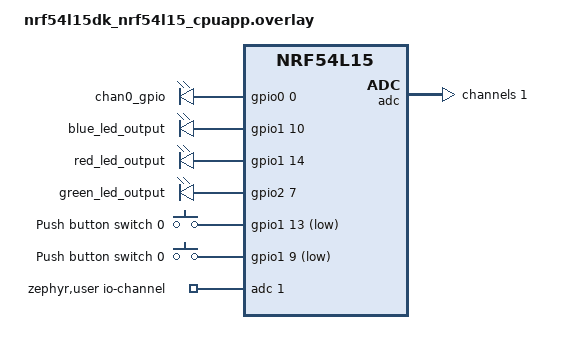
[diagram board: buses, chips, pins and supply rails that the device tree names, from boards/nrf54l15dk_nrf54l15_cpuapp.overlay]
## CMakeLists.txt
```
# SPDX-License-Identifier: Apache-2.0

cmake_minimum_required(VERSION 3.20.0)

find_package(Zephyr REQUIRED HINTS $ENV{ZEPHYR_BASE})
project(adc_dt_1)

FILE(GLOB app_sources 
    src/*.c
    src/utilities/*.c
    src/utilities/libpqueue/src/*.c
    src/utilities/circularbuffer/*.c
    src/main.c
    src/app_io.c
    src/ble.c
    src/ems_pwm.c
)

target_sources(app PRIVATE ${app_sources})
```

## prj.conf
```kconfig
# Needed for math.h
CONFIG_NEWLIB_LIBC=y
CONFIG_CBPRINTF_FP_SUPPORT=y

CONFIG_LOG=y
CONFIG_UART_CONSOLE=n
CONFIG_USE_SEGGER_RTT=y
CONFIG_RTT_CONSOLE=y
CONFIG_LOG_BACKEND_RTT=y

# Enable GPIO/PWM
CONFIG_PWM=y
CONFIG_NRFX_TIMER21=y
CONFIG_NRFX_PWM20=y
CONFIG_NRFX_PWM21=y


#Enable BLE
CONFIG_BT=y
CONFIG_BT_PERIPHERAL=y
CONFIG_BT_DEVICE_NAME="InnerGize Gen 1"
# Enable Security Management Protocol
CONFIG_BT_SMP=y

# Enable the BMS service
CONFIG_BT_BMS=y

# Enable bonding
CONFIG_BT_SETTINGS=y
CONFIG_FLASH=y
CONFIG_FLASH_PAGE_LAYOUT=y
CONFIG_FLASH_MAP=y
CONFIG_NVS=y
CONFIG_SETTINGS=y
CONFIG_NRFX_TEMP=y

CONFIG_BT_DIS=y

CONFIG_LED=y
CONFIG_LED_PWM=y

CONFIG_PM_DEVICE=y
CONFIG_GPIO=y
CONFIG_CRC=y
CONFIG_POWEROFF=y
CONFIG_HWINFO=y



# STEP 3.1 Enable support for Accept List filter and Privacy Features
CONFIG_BT_FILTER_ACCEPT_LIST=y
CONFIG_BT_PRIVACY=y
CONFIG_BT_GAP_AUTO_UPDATE_CONN_PARAMS=y
CONFIG_BT_USER_PHY_UPDATE=y
CONFIG_BT_CTLR_PHY_CODED=y
CONFIG_BT_PHY_UPDATE=y
CONFIG_BT_CTLR_TX_PWR_PLUS_8=y

# STEP 4.1 Increase the number of maximum paired devices
CONFIG_BT_MAX_PAIRED=100

CONFIG_MULTITHREADING=y
#ADC 
CONFIG_ADC=y
CONFIG_NRFX_SAADC=y
```

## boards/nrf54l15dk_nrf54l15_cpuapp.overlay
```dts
/*
 * SPDX-License-Identifier: Apache-2.0
 *
 * Copyright (c) 2024 Nordic Semiconductor ASA
 */

/{
    gpio_outputs{
        compatible = "gpio-leds";
        // Channel 0 GPIO pin
        chan0_gpio: chan0_gpio{
            gpios = < &gpio0 0 GPIO_ACTIVE_HIGH >;
        };
        blue_led_output: blue_led_output{
            gpios = <&gpio1 10 GPIO_PULL_DOWN>;
        };
        red_led_output: red_led_output{
            gpios = <&gpio1 14 GPIO_PULL_DOWN>;
        };
        green_led_output: green_led_output{
            gpios = < &gpio2 7 GPIO_ACTIVE_HIGH >;
        };
    };

    buttons{
        compatible = "gpio-keys";
        button0: button_0 {
			gpios = <&gpio1 13 (GPIO_PULL_UP | GPIO_ACTIVE_LOW)>;
			label = "Push button switch 0";
		};
        button1: button_1 {
			gpios = <&gpio1 9 (GPIO_PULL_UP | GPIO_ACTIVE_LOW)>;
			label = "Push button switch 0";
		};
    };
    

    zephyr,user {
		io-channels = <&adc 1>; // Channel 1
	};

    aliases{
        ems-chan0-gpio = &chan0_gpio;
        blue-led = &blue_led_output;
        red-led = &red_led_output;
        green-led = &blue_led_output;
        on-button = &button0;
        off-button = &button1;
    };
};

&adc {
	#address-cells = <1>;
	#size-cells = <0>;

	channel@1 {
		reg = <1>;
		zephyr,gain = "ADC_GAIN_1_4";
		zephyr,reference = "ADC_REF_INTERNAL";
		zephyr,acquisition-time = <ADC_ACQ_TIME(ADC_ACQ_TIME_MICROSECONDS,40)>;
		zephyr,input-positive = <NRF_SAADC_AIN1>; /* P1.06 */
		zephyr,resolution = <12>;
		zephyr,oversampling = <8>;
	};
};
```

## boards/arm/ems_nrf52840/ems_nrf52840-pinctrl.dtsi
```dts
&pinctrl {
	i2c0_default: i2c0_default {
		group1 {
			psels = <NRF_PSEL(TWIM_SDA, 0, 20)>,
				<NRF_PSEL(TWIM_SCL, 0, 21)>;
		};
	};

	i2c0_sleep: i2c0_sleep {
		group1 {
			psels = <NRF_PSEL(TWIM_SDA, 0, 20)>,
				<NRF_PSEL(TWIM_SCL, 0, 21)>;
			low-power-enable;
		};
	};

	// Chan1, 
	// Note: this is for compatibility purposes, pin selection done in ems_pwm.c
	ems1_default: ems1_default {
		group1 {
			psels = <NRF_PSEL(PWM_OUT0, 0, 4)>;
		};
	};

	// Chan1, 
	// Note: this is for compatibility purposes, pin selection done in ems_pwm.c
	ems1_sleep: ems1_sleep {
		group1 {
			psels = <NRF_PSEL(PWM_OUT0, 0, 4)>;
			low-power-enable;
		};
	};

	// Chan 2, 3 
	// Note: this is for compatibility purposes, pin selection done in ems_pwm.c
	ems23_default: ems23_default {
		group1 {
			psels = <NRF_PSEL(PWM_OUT0, 0, 27)>, <NRF_PSEL(PWM_OUT0, 0, 26)>;
		};
	};

	// Chan 2, 3 
	// Note: this is for compatibility purposes, pin selection done in ems_pwm.c
	ems23_sleep: ems23_sleep {
		group1 {
			psels = <NRF_PSEL(PWM_OUT0, 0, 27)>, <NRF_PSEL(PWM_OUT0, 0, 26)>;
			low-power-enable;
		};
	};
};
```

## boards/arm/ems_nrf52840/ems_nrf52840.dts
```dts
/dts-v1/;
#include <nordic/nrf52840_qiaa.dtsi>
#include "ems_nrf52840-pinctrl.dtsi"

/ {
	model = "EMS nRF52840";
	compatible = "ems,ems_nrf52840";

	chosen {
		zephyr,sram = &sram0;
		zephyr,flash = &flash0;
		zephyr,code-partition = &slot0_partition;
	};

    gpio_outputs{
        compatible = "gpio-leds";
        // Channel 0 GPIO pin
        chan0_gpio: chan0_gpio{
            gpios = < &gpio0 5 GPIO_ACTIVE_HIGH >;
        };
        led_output: led_output{
            gpios = < &gpio1 1 GPIO_ACTIVE_LOW >;
        };
    };

    

	zephyr,user {
		io-channels = <&adc 1>;  // Channel 0	
		
	};

    aliases{
        ems-chan0-gpio = &chan0_gpio;
        led-out = &led_output;
		pwm-led2 = &pwm_led2;
		pwm-led3 = &pwm_led3;
    };
};

&adc {
	status = "okay";

	#address-cells = <1>;
	#size-cells = <0>;

	channel@1{
		reg = < 1 >;
		zephyr,reference = "ADC_REF_INTERNAL";
		zephyr,gain = "ADC_GAIN_1_6";// Internal ref is 0.6, gain of 1/6 means max voltage to be measured at AIN pin is 3.6V
		zephyr,acquisition-time = < ADC_ACQ_TIME_DEFAULT >;
		zephyr,input-positive = < NRF_SAADC_AIN1 >;
		zephyr,resolution = < 10 >; // 10 Bit resolution
	};
};

&gpiote {
	status = "okay";
};

&gpio0 {
	status = "okay";
};

&gpio1 {
	status = "okay";
};

&i2c0 {
	compatible = "nordic,nrf-twi";
	status = "okay";
	pinctrl-0 = <&i2c0_default>;
	pinctrl-1 = <&i2c0_sleep>;
	pinctrl-names = "default", "sleep";


};


&pwm0 {
    status = "okay";
    pinctrl-0 = <&pwm3_custom>;
    pinctrl-1 = <&pwm3_csleep>;
    pinctrl-names = "default", "sleep";
};

&pwm2 {
	status = "okay";
	pinctrl-0 = <&pwm2_default>;
	pinctrl-1 = <&pwm2_sleep>;
	pinctrl-names = "default", "sleep";
};

&pwm3 {
	status = "okay";
	pinctrl-0 = <&pwm3_default>;
	pinctrl-1 = <&pwm3_sleep>;
	pinctrl-names = "default", "sleep";
};


&flash0 {

	partitions {
		compatible = "fixed-partitions";
		#address-cells = <1>;
		#size-cells = <1>;

		boot_partition: partition@0 {
			label = "mcuboot";
			reg = <0x00000000 0x0000C000>;
		};
		slot0_partition: partition@c000 {
			label = "image-0";
			reg = <0x0000C000 0x00067000>;
		};
		slot1_partition: partition@73000 {
			label = "image-1";
			reg = <0x00073000 0x00067000>;
		};
		scratch_partition: partition@da000 {
			label = "image-scratch";
			reg = <0x000da000 0x0001e000>;
		};

		/*
		 * The flash starting at 0x000f8000 and ending at
		 * 0x000fffff is reserved for use by the application.
		 */

		/*
		 * Storage partition will be used by FCB/LittleFS/NVS
		 * if enabled.
		 */
		storage_partition: partition@f8000 {
			label = "storage";
			reg = <0x000f8000 0x00008000>;
		};
	};
};

zephyr_udc0: &usbd {
	compatible = "nordic,nrf-usbd";
	status = "disabled";
};
```

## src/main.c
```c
#include <zephyr/kernel.h>
#include <zephyr/logging/log.h>
#include <zephyr/drivers/gpio.h>
#include <zephyr/drivers/pwm.h>
#include <hal/nrf_gpio.h>
#include <zephyr/drivers/adc.h>
#include <zephyr/pm/pm.h>

#include "main.h"
#include "ems_pwm.h"
#include "app_io.h"

LOG_MODULE_REGISTER(MAIN, LOG_LEVEL_DBG);

#define BLE_CONNECTION_STATE_NO_CONNECTION   -1
#define BLE_CONNECTION_STATE_DISCONNECTED     0
#define BLE_CONNECTION_STATE_CONNECTED        1
#define NUM_STEPS                             50U
#define SLEEP_MSEC                            25U
#define SLEEP_TIME_MS                         1000
#define ADC_CHANNEL_1                         1

#define GPIO_PIN                              NRF_GPIO_PIN_MAP(0, 5)
#define GPIO_PIN1                             NRF_GPIO_PIN_MAP(0, 25)
#define DEFAULT_SESSION_TIME_SECONDS          1200

#if !DT_NODE_EXISTS(DT_PATH(zephyr_user)) || \
    !DT_NODE_HAS_PROP(DT_PATH(zephyr_user), io_channels)
#error "No suitable devicetree overlay specified"
#endif

#define DT_SPEC_AND_COMMA(node_id, prop, idx) \
    ADC_DT_SPEC_GET_BY_IDX(node_id, idx),

// Get the ADC channels from the devicetree
const struct adc_dt_spec adc_channels[] = {
    DT_FOREACH_PROP_ELEM(DT_PATH(zephyr_user), io_channels,
    DT_SPEC_AND_COMMA)
};

static void session_timer_exp_cb(struct k_timer *timer);

static void adjust_pwm_timer_exp_cb(struct k_timer *timer);

uint32_t standby_counter;
volatile bool ems_session_running = false;
bool in_standby = false;
static int increment;

int8_t ble_connection_state = BLE_CONNECTION_STATE_NO_CONNECTION;

extern struct k_msgq ble_msgq;

struct main_msg_data data;

struct ble_msg *temp_msg = &data.data.ble;

K_MSGQ_DEFINE(main_msgq, sizeof(struct main_msg_data), 5, 4);

K_TIMER_DEFINE(session_timer, session_timer_exp_cb, NULL); // Timer for the session timer callback
K_TIMER_DEFINE(adjust_pwm_timer, adjust_pwm_timer_exp_cb, NULL);


// Struct for storing the EMS parameters like on-time, off-time, duty cycle, etc.
struct ems_def current_ems = {
    .status = {
        .control = 0,
        .session = {0},
    },
    .channels = {
        .chan0 = {.on_time = 450, .off_time = 1910},
        .chan1 = {.on_time = (6.25 * NSEC_PER_USEC), .interval = (50 * USEC_PER_MSEC)},
        .chan2 = {.duty_cycle = 50},
        .chan3 = {.duty_cycle = 50}
    }
};

// Function to update the BLE message queue
static void update_ble(struct ble_msg *msg) {
    k_msgq_put(&ble_msgq, msg, K_NO_WAIT);
}

// Timer function to turn off the EMS after the user-specified time
static void session_timer_exp_cb(struct k_timer *timer) {
    struct ble_msg control_session_msg = {0};
    if (disconnect_reason == 19) { // If user disconnected the device manually, then stop the EMS
        current_ems.status.session.current_session_len = 0;
        current_ems.status.control = 0;
        LOG_INF("EMS disabled");
        ems_pwm_toggle(0);
        ems_session_running = false;
        LOG_DBG("Function called to stop EMS");
        disconnect_reason = 0;
    }

    if (current_ems.status.control == 1) {
        current_ems.status.session.current_session_len++;
        LOG_DBG("EMS session %u, target %u", current_ems.status.session.current_session_len, current_ems.status.session.target_session_len);

        // If the session length is greater than the target session length, then turn off the EMS
        if ((current_ems.status.session.target_session_len > 0) &&
            (current_ems.status.session.current_session_len > current_ems.status.session.target_session_len)) {
            current_ems.status.control = 0;
            LOG_DBG("End EMS Session");
           // stop_green_led_thread();
            //start_green_led_thread(1000000);
            ems_session_running = false;
            ems_pwm_toggle(0);
        }
    }

    control_session_msg.id = BLE_MSG_ID_EMS_CONTROL;
    memcpy(&control_session_msg.data.ems, &current_ems, sizeof(current_ems)); // Copy the EMS parameters to the BLE message
    update_ble(&control_session_msg); // Update the BLE message queue

    //IF THE DEVICE IS NOT CONNECTED THEN INCREMENT THE STANDBY COUNTER
    if(ble_connection_state != BLE_CONNECTION_STATE_CONNECTED){
        standby_counter++;
            //LOG_INF("STANDBY %u", standby_counter);
    }
    //PUTS DEVICE TO SLEEP IF NO DEVICE CONNECTED FOR 5 MINUTES
     if(ble_connection_state != BLE_CONNECTION_STATE_CONNECTED && standby_counter > 300 && ems_session_running == false ){
    
            LOG_INF("Enter standby mode");
            nrf_gpio_pin_clear(GPIO_PIN);
            nrf_gpio_pin_clear(GPIO_PIN1);
    
    }
}


static int on_time_func() {
    if (temp_msg->data.ems.status.ontime - ems_intensity_data.PWM_ON_TIME <= 10) {
        return 1;
    } else if (temp_msg->data.ems.status.ontime - ems_intensity_data.PWM_ON_TIME > 10 && temp_msg->data.ems.status.ontime - ems_intensity_data.PWM_ON_TIME <= 25) {
        return 3;
    } else if (temp_msg->data.ems.status.ontime - ems_intensity_data.PWM_ON_TIME > 25) {
        return 5;
    }
}
// Function to gradually change the PWM_ON_TIME
static void adjust_pwm_on_time() {
    LOG_INF("BLE stack value %u", temp_msg->data.ems.status.ontime);
    LOG_INF("on time stack value %u", ems_intensity_data.PWM_ON_TIME);
    if (increment == 0) {
        increment = on_time_func();
    }
    ems_intensity_data.PWM_ON_TIME += increment;

    if (ems_intensity_data.PWM_ON_TIME >= temp_msg->data.ems.status.ontime) {
        increment = 0;
        k_timer_stop(&adjust_pwm_timer);
        ems_intensity_data.PWM_ON_TIME = temp_msg->data.ems.status.ontime;
    }

    if (ems_intensity_data.PWM_ON_TIME > 100) {
        ems_intensity_data.PWM_ON_TIME = 100; // Cap the PWM_ON_TIME at 100
    }
    // Update the PWM on-time for channel 1
    ems_pwm_update_params(1, PWM_USEC(ems_intensity_data.PWM_ON_TIME), 0, current_ems.channels.chan1.interval * NSEC_PER_USEC);
}

// Timer function to adjust PWM_ON_TIME every 20 seconds
static void adjust_pwm_timer_exp_cb(struct k_timer *timer) {
    adjust_pwm_on_time();
}

// Function to turn EMS on and off
static void ems_control_cmd_handle(uint8_t control) {
    if (control) {
        // Enable EMS
        initial_value = batt_val_mv;
        current_ems.status.session.current_session_len = 0;
        current_ems.status.control = 1;
        ems_pwm_toggle(1);
        //stop_green_led_thread();
        //start_green_led_thread(10000);
        LOG_INF("EMS enabled");
        current_ems.status.session.target_session_len = DEFAULT_SESSION_TIME_SECONDS; // Turn off EMS automatically after 20 minutes
        ems_session_running = true;
    } 
    else {
        current_ems.status.session.current_session_len = 0;
        current_ems.status.control = 0;
        LOG_INF("EMS disabled");
        ems_pwm_toggle(0);
        //stop_green_led_thread();
        //start_green_led_thread(1000000);
        ems_session_running = false;
    }
}

// Function to update the EMS parameters included in the EMS service 
static void ems_chan_cmd_handle(uint8_t channel, struct pwm_channel_data *chan_data) {
    switch (channel) {
        case BLE_MSG_ID_EMS_CHAN1_CONTROL: {
            ems_pwm_update_params(0, chan_data->chan0.on_time * NSEC_PER_MSEC, chan_data->chan0.off_time * NSEC_PER_MSEC, 0);
            memcpy(&current_ems.channels.chan0, &chan_data->chan0, sizeof(current_ems.channels.chan0));
            LOG_DBG("Chan0 update on_time: %u, off_time: %u", current_ems.channels.chan0.on_time, current_ems.channels.chan0.off_time);
            break;
        }
        case BLE_MSG_ID_EMS_CHAN2_CONTROL: {
            ems_pwm_update_params(1, chan_data->chan1.on_time, 0, chan_data->chan1.interval * NSEC_PER_USEC);
            memcpy(&current_ems.channels.chan1, &chan_data->chan1, sizeof(current_ems.channels.chan1));
            LOG_DBG("Chan1 update on_time: %u, interval: %u", current_ems.channels.chan1.on_time, current_ems.channels.chan1.interval);
            break;
        }
        case BLE_MSG_ID_EMS_CHAN3_CONTROL: {
            ems_pwm_update_params(2, chan_data->chan2.duty_cycle, 0, 0);
            memcpy(&current_ems.channels.chan2, &chan_data->chan2, sizeof(current_ems.channels.chan2));
            LOG_DBG("Chan2 update duty_cycle: %d", current_ems.channels.chan2.duty_cycle);
            break;
        }
        case BLE_MSG_ID_EMS_CHAN4_CONTROL: {
            ems_pwm_update_params(3, chan_data->chan3.duty_cycle, 0, 0);
            memcpy(&current_ems.channels.chan3, &chan_data->chan3, sizeof(current_ems.channels.chan3));
            LOG_DBG("Chan3 update duty_cycle: %d", current_ems.channels.chan3.duty_cycle);
            break;
        }
        default: {
            break;
        }
    }
}

int main(void) {
    nrf_gpio_cfg_output(GPIO_PIN);
    nrf_gpio_cfg_output(GPIO_PIN1);

    nrf_gpio_pin_set(GPIO_PIN);
    nrf_gpio_pin_set(GPIO_PIN1);

    //LOG_INF("VALUE OF TEMP SENSOR %f",read_cpu_temp_sensor());
    ems_pwm_init(); // Initializes the PWM

    k_timer_start(&session_timer, K_SECONDS(1), K_SECONDS(1)); // Starts the timer


    while (1) {
        
        k_msgq_get(&main_msgq, &data, K_FOREVER);

        // If the data source is BLE, then handle the BLE messages
        if (data.src == MAIN_MSG_DATA_SRC_BLE) {
            // Switch case to handle the BLE messages
            switch (temp_msg->id) {
                case BLE_MSG_ID_EMS_CONTROL: {
                    if(temp_msg->data.ems.status.control == 1){
                        RelaxMode();
                    }
                    else if(temp_msg->data.ems.status.control == 2){
                        SleepMode();
                    }
                    else if(temp_msg->data.ems.status.control == 3){
                        BreathMode();
                    }
                    ems_control_cmd_handle(temp_msg->data.ems.status.control);
                    LOG_INF("EMS control CALLED");
                    break;
                }
                case BLE_MSG_ID_EMS_SESSION: {
                    current_ems.status.session.current_session_len = 0;
                    current_ems.status.session.target_session_len = temp_msg->data.ems.status.session.target_session_len; // uint32 big endian
                    break;
                }
                case BLE_MSG_ID_PWM_PERIOD: {
                    ems_intensity_data.PWM_PERIOD = temp_msg->data.ems.status.period;
                    break;
                }
                case BLE_MSG_ID_PWM_ONTIME: {
                    // Start the timer to adjust PWM_ON_TIME every 20 seconds
                    k_timer_start(&adjust_pwm_timer, K_SECONDS(2), K_SECONDS(2));
                    break;
                }
                case BLE_MSG_ID_PWM_INTERVAL: {
                    ems_intensity_data.PWM_INTERVAL = temp_msg->data.ems.status.interval;
                    break;
                }
                case BLE_MSG_ID_PWM_DURATION: {
                    ems_intensity_data.PWM_DURATION = temp_msg->data.ems.status.duration;
                    break;
                }
                case BLE_MSG_ID_CHAN0_PLAYBACK_COUNT: {
                    ems_intensity_data.CHAN0_PLAYBACK = temp_msg->data.ems.status.chan0playback;


                    break;
                }
                case BLE_MSG_ID_CHAN0_INUCT_DURATION: {
                    ems_intensity_data.CHAN0_INDUCTOR = temp_msg->data.ems.status.chan0inductor;

                    break;
                }
                 case BLE_MSG_ID_CHAN0_ON_DURATION: {
                    ems_intensity_data.CHAN0_DURATION = temp_msg->data.ems.status.chan0ontime;
                  chan0_para_update();

                    break;
                }
                case BLE_MSG_ID_CHAN0_DURATION: {
                    ems_intensity_data.CHAN0_ON_DURATION = temp_msg->data.ems.status.chan0time;
                    chan0_para_update();
                    break;
                }
                case BLE_MSG_ID_CHAN23_PWM_PERIOD_NS: {
                    ems_intensity_data.PWM23_DURATION = 25*(temp_msg->data.ems.status.pwm23time);
                    //CHAN23_PWM_DEFAULT_PERIOD_NS = temp_msg->data.ems.status.pwm23time;
                    LOG_INF("VALUE OF CHAN 23 IN BLE STACK  %u", temp_msg->data.ems.status.pwm23time );
                    LOG_INF("VALUE OF CHAN 23 %u", ems_intensity_data.PWM23_DURATION );
                    chan23reset();

                    break;
                }
                case BLE_MSG_ID_CHAN23_PWM_ON_TIME_NS: {
                    ems_intensity_data.PWM23_ON_DURATION = 25*(temp_msg->data.ems.status.pwm23ontime);
                    //CHAN23_PWM_DEFAULT_ON_TIME_NS= temp_msg->data.ems.status.pwm23ontime;
                    LOG_INF("VALUE OF CHAN 23ONM in ble stack %u", temp_msg->data.ems.status.pwm23ontime);
                    LOG_INF("VALUE OF CHAN 23ON %u", ems_intensity_data.PWM23_ON_DURATION );
                    chan23reset();
                    break;
                }
                case BLE_MSG_ID_CHARGER_ON_OFF: {
                    if(temp_msg->data.ems.status.chargeronoff == 5)
                    {
                         nrf_gpio_pin_clear(GPIO_PIN);
                         nrf_gpio_pin_clear(GPIO_PIN1);
                    }
                    break;
                }
                case BLE_MSG_ID_EMS_CHAN1_CONTROL:
                case BLE_MSG_ID_EMS_CHAN2_CONTROL:
                case BLE_MSG_ID_EMS_CHAN3_CONTROL:
                case BLE_MSG_ID_EMS_CHAN4_CONTROL: {
                    ems_chan_cmd_handle(temp_msg->id, &temp_msg->data.ems.channels);
                    break;
                }
                case BLE_MSG_ID_CONNECTED: {
                    ble_connection_state = BLE_CONNECTION_STATE_CONNECTED;
                    standby_counter = 0;
                    break;
                }
                case BLE_MSG_ID_DISCONNECTED: {
                    ble_connection_state = BLE_CONNECTION_STATE_DISCONNECTED;
                    standby_counter = 0;
                    LOG_DBG("BLE disconnected");
                    k_timer_stop(&adjust_pwm_timer);
                    break;
                }
                default: {
                    break;
                }
            }
        }
    }
    return 0;
}
```

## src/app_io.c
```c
#include "app_io.h"
#include "ble.h"
#include "main.h"
#include "ems_pwm.h"

#include <zephyr/drivers/pwm.h>
#include <zephyr/kernel.h>
#include <zephyr/drivers/gpio.h>
#include <zephyr/drivers/adc.h>
#include <zephyr/logging/log.h>
#include <zephyr/sys/reboot.h>
#include <hal/nrf_gpio.h>
#include <zephyr/bluetooth/bluetooth.h>
#include <zephyr/bluetooth/gatt.h>
#include <zephyr/bluetooth/uuid.h>
#include <zephyr/bluetooth/conn.h>
#include <zephyr/bluetooth/gap.h>
#include <zephyr/bluetooth/hci.h>

#include <inttypes.h>
#include <stdio.h>

#include <zephyr/device.h>
#include <zephyr/drivers/gpio.h>
#include <zephyr/drivers/hwinfo.h>
#include <zephyr/drivers/comparator.h>
#include <zephyr/kernel.h>
#include <zephyr/pm/device.h>
#include <zephyr/sys/poweroff.h>
#include <zephyr/sys/util.h>
#include <zephyr/drivers/timer/nrf_grtc_timer.h>

LOG_MODULE_REGISTER(APP_IO, LOG_LEVEL_DBG);

#define BLUE_LED_OUT_NODE                   DT_ALIAS(blue_led)       // blue LED node
#define GREEN_LED_OUT_NODE                  DT_ALIAS(green_led) 
#define RED_LED_OUT_NODE                    DT_ALIAS(red_led)        // red LED node


#define SW0_NODE	                    DT_ALIAS(on_button)           // Button node

#define GPIO_PIN                        NRF_GPIO_PIN_MAP(0, 5)
#define GPIO_PIN1                       NRF_GPIO_PIN_MAP(0, 25)

#define STACK_SIZE                            512
#define MY_STACK_SIZE                         500
#define THREAD_PRIORITY                       4

#define PWM_PERIOD   PWM_MSEC(60)

#define PWM_MIN_DUTY_CYCLE 20000000
#define PWM_MAX_DUTY_CYCLE 50000000

#define ADC_THRESHOLD                   70  // Threshold for waking up based on ADC value difference
#define ARRAY_SIZE                      10   // Size of the ADC value array

#define SLEEP_DURATION_MS               5000 // Duration of sleep in milliseconds

#define TIME_WINDOW_MS     10000  // 10-second time window



#define DEEP_SLEEP_TIME_S 2


static const struct gpio_dt_spec sw0 = GPIO_DT_SPEC_GET(DT_ALIAS(off_button), gpios);


#if !DT_NODE_HAS_STATUS(SW0_NODE, okay)
#error "Unsupported board: sw0 devicetree alias is not defined"
#endif

// ADC spec macro
#define DT_SPEC_AND_COMMA(node_id, prop, idx) \
	ADC_DT_SPEC_GET_BY_IDX(node_id, idx),


struct gpio_dt_spec red_led_spec = GPIO_DT_SPEC_GET(RED_LED_OUT_NODE, gpios); // Red LED spec

struct gpio_dt_spec green_led_spec = GPIO_DT_SPEC_GET(GREEN_LED_OUT_NODE, gpios); // Red LED spec

struct gpio_dt_spec blue_led_spec = GPIO_DT_SPEC_GET(BLUE_LED_OUT_NODE, gpios); // Red LED spec


extern struct k_msgq ble_msgq;  // BLE message queue

// Define the thread stack
K_THREAD_STACK_DEFINE(dyn_thread_stack_1, MY_STACK_SIZE);
// Define the thread control block
struct k_thread my_thread_data_1;

/* Define the timer object */
static struct k_timer my_timer;

static struct gpio_callback button_cb_data;

static const struct gpio_dt_spec button = GPIO_DT_SPEC_GET_OR(SW0_NODE, gpios, {0}); // Button spec

// ADC channels
static const struct adc_dt_spec adc_channels[] = {
	DT_FOREACH_PROP_ELEM(DT_PATH(zephyr_user), io_channels, DT_SPEC_AND_COMMA)
};

// Thread definitions
#define LED_BLINK_THREAD_STACK_SIZE 1024
#define LED_BLINK_THREAD_PRIORITY 5

K_THREAD_STACK_DEFINE(blue_led_stack_area, LED_BLINK_THREAD_STACK_SIZE);
K_THREAD_STACK_DEFINE(green_led_stack_area, LED_BLINK_THREAD_STACK_SIZE);

struct k_thread blue_led_thread_data;
struct k_thread green_led_thread_data;

// Shared data for controlling threads
static uint32_t pwm_period_blue = 1000000; // Default period for blue LED
static uint32_t pwm_period_green = 1000000;   // Default period for green LED

static bool blue_led_thread_running = false;
static bool green_led_thread_running = false;

// Mutexes to protect access to shared variables
static struct k_mutex blue_period_mutex;
static struct k_mutex green_period_mutex;

#define MIN_DUTY_CYCLE 0
#define MAX_DUTY_CYCLE 10000 // Maximum duty cycle in nanoseconds, adjust as needed
#define STEP_SIZE 100 // Step size for duty cycle increment/decrement, adjust for smoothness
#define STEP_DELAY_MS 10 // Delay between steps in milliseconds, adjust for speed of breathing effect
#define SOLID_BRIGHT_PERIOD 10000 // Set period for solid bright     // Maximum duty cycle for full brightness
#define ZERO_DUTY_CYCLE 0           // Duty cycle for turning off the LED


uint32_t btn_hold_counter = 0;
uint32_t ems_on = 0;
uint16_t raw_batt_val = 0;
int32_t batt_val_mv = 0;
int32_t initial_value = 0;
int32_t current_value = 0;
int32_t final_value = 0;
int charging_threshold;  // Charging threshold will be dynamically set
uint8_t charger_state = 0;   // Initialize the charger state
uint8_t battery_low = 0; 
uint16_t buf;
k_tid_t my_tid1;
k_tid_t my_tid2;
k_tid_t my_tid3;
uint8_t sleep_flag =0;
static int64_t start_time;
const k_tid_t red_led_thread; // LED thread

static int charge_count=0;
static int charge_count1=0;
static int charge=0;
static int discharge=0;

// ADC value array for storing readings
int adc_values_array[ARRAY_SIZE] = {0};
int adc_array_index = 0; // Index to keep track of the array position

volatile bool in_critical_section = false;

const k_tid_t led_thread; // LED thread

extern bool in_standby;

K_SEM_DEFINE(button_sem, 0, 1);

// Battery ADC sequence
struct adc_sequence batt_read_sequence = {
    .buffer = &raw_batt_val,
    .buffer_size = sizeof(raw_batt_val)
};

/* Callback function for the timer */
void timer_expiry_function(struct k_timer *timer_id)
{
    /* Optional: If you want to restart the process for another 30 seconds, restart the timer */
    k_timer_start(&my_timer, K_SECONDS(30), K_NO_WAIT);
}

// Button pressed callback function
void button_pressed(const struct device *dev, struct gpio_callback *cb, uint32_t pins) {

    k_sem_give(&button_sem);

	LOG_DBG("Button pressed at %" PRIu32 "\n", k_cycle_get_32());
}

// Battery read initialization function
static int batt_read_init() {
    int ret = 0;

    if (!device_is_ready(adc_channels[0].dev)) {
        return -ENODEV;
    }

    ret = adc_channel_setup_dt(&adc_channels[0]);
    if (ret) {
        return ret;
    }
      // Initialize ADC sequence
    ret = adc_sequence_init_dt(&adc_channels[0], &batt_read_sequence);
    if (ret) {
          return;
    }

    return 0;
}

static void battery_update()
{
    int ret = 0;

    // Read ADC value
    ret = adc_read(adc_channels[0].dev, &batt_read_sequence);
    if (ret) {
        return;
    }

    batt_val_mv = (int32_t)raw_batt_val;
    ret = adc_raw_to_millivolts_dt(&adc_channels[0], &batt_val_mv);
    if (ret) {
        return;
    }

    /* Read the current battery value */
    current_value = batt_val_mv;
    //LOG_INF("BATTURY VALUE %u",current_value);

    // Set charging thresholds based on batt_val_mv
   
        if (batt_val_mv >= 2000) {
            charging_threshold = 8;
        } else if (batt_val_mv >= 1500 && batt_val_mv < 2000) {
            charging_threshold = 10;
        } else {
            charging_threshold = 12;
        } 

        if(is_pwm_modes_enabled == false)
        {

            if(battery_update_ready)
            {
                k_sleep(K_MSEC(2000)); // Check battery every 2 seconds
                battery_update_ready = false;
            }


        if((final_value - current_value >= 8) && (discharge ==1)){

            charge_count = 0;
            charge_count1 = charge_count1 + 100;

    
            if(charge_count1 > 400)
            {
               // LOG_INF("Button held for more than 9 seconds, rebooting");
    
                // nrf_gpio_pin_clear(GPIO_PIN);
                // nrf_gpio_pin_clear(GPIO_PIN1);
                //gpio_pin_set_raw(red_led_spec.port, red_led_spec.pin, 1);
                charger_state = 0;
                discharge=0;
                
            }
            //charger_state = 0;
            //initial_value = current_value;

        } 
        else if (current_value - initial_value >= charging_threshold) {
            //printk("Value changed from %d to %d with batt_val_mv: %d\n", initial_value, current_value, batt_val_mv);
             // Set charger state to 1
            charge_count1 = 0;
            sleep_flag = 1;
            charge_count = charge_count + 100;

            if(charge_count > 400)

            {
               // LOG_INF("Button held for more than 9 seconds, rebooting");
    
                // nrf_gpio_pin_clear(GPIO_PIN);
                // nrf_gpio_pin_clear(GPIO_PIN1);
                //gpio_pin_set_raw(red_led_spec.port, red_led_spec.pin, 0);
                final_value = batt_val_mv;
                charger_state = 1; 
                discharge =1;
            }
            //gpio_pin_set_raw(red_led_spec.port, red_led_spec.pin, 0);

        }  
        else {
            initial_value = current_value;
           // charger_state = 0;
            charge_count1 = 0;
            charge_count = 0;
            //gpio_pin_set_raw(red_led_spec.port, red_led_spec.pin, 1);
           // printk("Restarting timer with initial value: %d\n", initial_value);
        }
    }
        
    }
    
static void batt_read_update() // Battery read update
{   
    while (1) {

        battery_update();

        struct ble_msg batt_msg = {
            .id = BLE_MSG_ID_BATT_UPDATE,
            .data.batt_mv = batt_val_mv
        };
        k_msgq_put(&ble_msgq, &batt_msg, K_NO_WAIT);
    
        k_sleep(K_MSEC(1000)); // Check battery every 2 seconds
    }
}


static void red_led_main() {
    while (1) {
    int ret = gpio_pin_toggle_dt(&red_led_spec);
        k_sleep(K_MSEC(1000));
    }
}

static void green_led_main() {
    while (1) {
      int  ret = gpio_pin_toggle_dt(&green_led_spec);
        k_sleep(K_MSEC(1000));
    }
}

static void blue_led_main() {
    while (1) {
    int ret = gpio_pin_toggle_dt(&blue_led_spec);
        k_sleep(K_MSEC(1000));
    }
}

int input_main() {
    
    int err = 0;
    int ret;
    int val;
    int btn_hold_counter = 0;
    bool pattern_changed = false; // Flag to track if LED pattern is already changed
    const int hold_duration_threshold = 2000; // 2 seconds in milliseconds

    int rc;
	const struct device *const cons = DEVICE_DT_GET(DT_CHOSEN(zephyr_console));

	if (!device_is_ready(cons)) {
		LOG_ERR("%s: device not ready.\n", cons->name);
		return 0;
	}

	LOG_ERR("\n%s system off demo\n", CONFIG_BOARD);


	/* configure sw0 as input, interrupt as level active to allow wake-up */
	rc = gpio_pin_configure_dt(&sw0, GPIO_INPUT);
	if (rc < 0) {
		LOG_ERR("Could not configure sw0 GPIO (%d)\n", rc);
		return 0;
	}

	rc = gpio_pin_interrupt_configure_dt(&sw0, GPIO_INT_LEVEL_ACTIVE);
	if (rc < 0) {
		LOG_ERR("Could not configure sw0 GPIO interrupt (%d)\n", rc);
		return 0;
	}

	LOG_ERR("Entering system off; press sw0 to restart\n");




    create_red_thread_from_function();
    
    create_green_thread_from_function();

    create_blue_thread_from_function();

    // Initialize the timer
    k_timer_init(&my_timer, timer_expiry_function, NULL);
    k_timer_start(&my_timer, K_SECONDS(30), K_NO_WAIT);

    // Battery initialization
    if (batt_read_init()) {
        return 1;
    }
    // Button initialization
    if (!gpio_is_ready_dt(&button)) {
        LOG_DBG("Error: button device %s is not ready\n", button.port->name);
        return 0;
    }

    ret = gpio_pin_configure_dt(&button, GPIO_INPUT);
    
    if (ret) {
        LOG_DBG("Error %d: failed to configure %s pin %d\n", ret, button.port->name, button.pin);
        return 0;
    }

    ret = gpio_pin_interrupt_configure_dt(&sw0, GPIO_INT_EDGE_TO_ACTIVE);

    
    if (ret) {
        LOG_DBG("Error %d: failed to configure interrupt on %s pin %d\n", ret, button.port->name, button.pin);
        return 0;
    }

    //     while (1) {
    //     // Or, better: wait for user input/event before sleeping
    //     k_sleep(K_SECONDS(100));  // Keep alive for 10 seconds (or handle app logic)
    //     printf("Going to sleep now\n");
    //     break;
    // }


    // Button callback
    gpio_init_callback(&button_cb_data, button_pressed, BIT(button.pin));
    gpio_add_callback(button.port, &button_cb_data);

    k_sleep(K_MSEC(100));

    initial_value = batt_val_mv;
    printk("Initial value: %d\n", initial_value);

   	if (!gpio_is_ready_dt(&red_led_spec)) {
		return 0;
	}

	ret = gpio_pin_configure_dt(&red_led_spec, GPIO_OUTPUT_ACTIVE);
	if (ret < 0) {
		return 0;
	}

    	if (!gpio_is_ready_dt(&green_led_spec)) {
		return 0;
	}

	ret = gpio_pin_configure_dt(&green_led_spec, GPIO_OUTPUT_ACTIVE);
	if (ret < 0) {
		return 0;
	}

    	if (!gpio_is_ready_dt(&blue_led_spec)) {
		return 0;
	}

	ret = gpio_pin_configure_dt(&blue_led_spec, GPIO_OUTPUT_ACTIVE);
	if (ret < 0) {
		return 0;
	}

    // Simulate some other operations
    k_sleep(K_SECONDS(1));


    
    // Main loop
    while (1) {
        // Check battery value
        
        if (batt_val_mv < 1600 ) {

            
            if(battery_low == 0){

            k_thread_suspend(my_tid2);
            k_thread_suspend(my_tid3);
            k_thread_start(my_tid1);
            
            battery_low=1;

            }
        }
        // Get button state
        val = gpio_pin_get_dt(&button);
        
        k_msleep(1);  // Sleep to avoid busy waiting

        // Button press handling
        if (val == 1) {

         

    rc = pm_device_action_run(cons, PM_DEVICE_ACTION_SUSPEND);
	if (rc < 0) {
		LOG_ERR("Could not suspend console (%d)\n", rc);
		return 0;
	}


	hwinfo_clear_reset_cause();
	sys_poweroff();
            // btn_hold_counter++;  // Increment counter every ms while the button is held

            // // If button has been held for more than 3 seconds, change the LED pattern
            // if (btn_hold_counter >= hold_duration_threshold && !pattern_changed && pairing_on) {

            //     if(battery_low == 0){

            //         k_thread_start(my_tid3);

            //     }
                
            //     LOG_INF("Button held for 3 seconds, changed to blinking");

            //     pattern_changed = true; // Set flag to indicate the pattern has changed
                
            //     if ((err = bt_le_adv_stop()) == 0) {
            //     LOG_INF("Advertising stopped successfully");
            // }

            // else {
            //     LOG_INF("Cannot stop advertising, err = %d", err);
            // }

            // if ((err = bt_le_filter_accept_list_clear()) == 0) {
            //     LOG_INF("Accept list cleared successfully");

            //     ble_new_adv();

            //     if ((err = bt_le_adv_start(BT_LE_ADV_CONN_NAME, NULL, 0, NULL, 0)) == 0) {
            //         LOG_INF("Advertising in pairing mode started");
            //     } else {
            //         LOG_INF("Cannot start advertising, err = %d", err);
            //     }
            // }

            // else {
            //     LOG_INF("Cannot clear accept list, err = %d", err);
            // }

            // }

        }
        
        else {
            // Reset the counter and pattern_changed flag when the button is released
            btn_hold_counter = 0;
            pattern_changed = false;
        }

        // Handle longer button hold (e.g., reboot) if needed
        if (btn_hold_counter > 5000) {
            
            // stop_blue_led_thread();
            // stop_green_led_thread();
            // stop_red_led_thread();

            LOG_INF("Button held for more than 9 seconds, rebooting");

            nrf_gpio_pin_clear(GPIO_PIN);
            nrf_gpio_pin_clear(GPIO_PIN1);

        }
    }

    return 0;  // Return success
}


K_THREAD_DEFINE(input_thread, 1024, input_main, NULL, NULL, NULL, 2, K_ESSENTIAL, 0);

K_THREAD_DEFINE(batt_thread, 512, batt_read_update, NULL, NULL, NULL, 3, 0, 0);

void create_red_thread_from_function(void) {
    my_tid1 = k_thread_create(&my_thread_data_1, dyn_thread_stack_1,
                             K_THREAD_STACK_SIZEOF(dyn_thread_stack_1),
                             red_led_main,
                             NULL, NULL, NULL,
                             4, 0, K_FOREVER);
}

void create_green_thread_from_function(void) {
    my_tid2 = k_thread_create(&my_thread_data_1, dyn_thread_stack_1,
                             K_THREAD_STACK_SIZEOF(dyn_thread_stack_1),
                             green_led_main,
                             NULL, NULL, NULL,
                             5, 0, K_FOREVER);
}

void create_blue_thread_from_function(void) {
    my_tid3 = k_thread_create(&my_thread_data_1, dyn_thread_stack_1,
                             K_THREAD_STACK_SIZEOF(dyn_thread_stack_1),
                             blue_led_main,
                             NULL, NULL, NULL,
                             6, 0, K_FOREVER);
}
```

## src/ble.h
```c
#ifndef BLE_H
#define BLE_H

#include <stdint.h>
#include <stdbool.h>
#include "app_data_types.h"

#define BLE_MSG_ID_CONNECTED                0x01
#define BLE_MSG_ID_DISCONNECTED             0x02
#define BLE_MSG_ID_REINIT                   0x03
#define BLE_MSG_ID_DEINIT                   0x04

#define BLE_MSG_ID_EMS_CONTROL              0x20
#define BLE_MSG_ID_EMS_SESSION              0x21
#define BLE_MSG_ID_EMS_MODE                 0x22
#define BLE_MSG_ID_EMS_CHAN1_CONTROL        0x23
#define BLE_MSG_ID_EMS_CHAN2_CONTROL        0x24
#define BLE_MSG_ID_EMS_CHAN3_CONTROL        0x25
#define BLE_MSG_ID_EMS_CHAN4_CONTROL        0x26
#define BLE_MSG_ID_EMS_INTENSITY            0x27

#define BLE_MSG_ID_CHAN0_PLAYBACK_COUNT     0x28
#define BLE_MSG_ID_CHAN0_INUCT_DURATION     0x29
#define BLE_MSG_ID_CHAN0_ON_DURATION        0x30
#define BLE_MSG_ID_CHAN0_DURATION           0x31

#define BLE_MSG_ID_PWM_PERIOD               0x33
#define BLE_MSG_ID_PWM_ONTIME               0x34
#define BLE_MSG_ID_PWM_INTERVAL             0x35
#define BLE_MSG_ID_PWM_DURATION             0x36
#define BLE_MSG_ID_CHAN23_PWM_PERIOD_NS     0x37
#define BLE_MSG_ID_CHAN23_PWM_ON_TIME_NS    0x38

#define BLE_MSG_ID_CHARGER_ON_OFF           0x39
#define BLE_MSG_ID_BATT_UPDATE              0x40

extern uint8_t disconnect_reason;

int ble_adv_start();

void ble_new_adv();

extern bool pairing_on;

// Structure to store the ble ems data
struct ble_msg{
    uint8_t id;
    union{
        struct ems_def ems;
        int32_t batt_mv;
    }data;
};

#endif
```

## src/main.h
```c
#ifndef MAIN_H
#define MAIN_H

#include <zephyr/kernel.h>

#include "app_data_types.h"
#include "ble.h"

#define MAIN_MSG_DATA_SRC_MOTION_DETECTOR       1
#define MAIN_MSG_DATA_SRC_BLE                   2

/**
 * @brief data structure for main message queue
 * 
 */
/* struct to store the ble ems data and acces it in main */
//extern K_THREAD_STACK_DEFINE(led_stack_area, 512);
struct main_msg_data{
    int src;
    union{
        struct ble_msg ble;
    }data;
};

#endif
```
